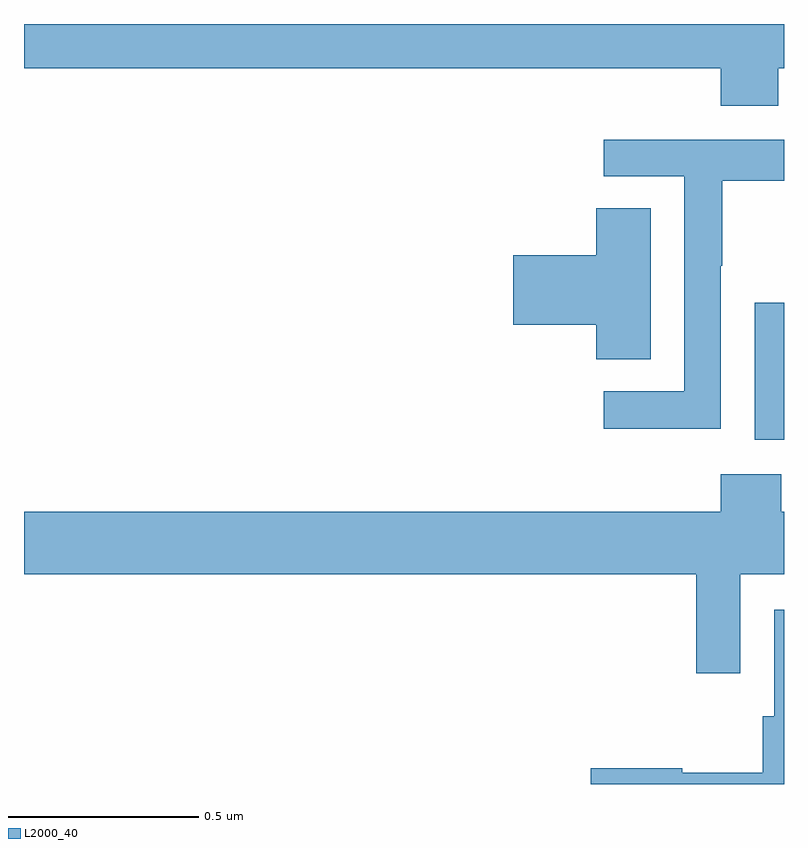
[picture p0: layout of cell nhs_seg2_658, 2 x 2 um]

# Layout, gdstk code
import gdstk
lib = gdstk.Library(unit=1e-6, precision=1e-09)
def R(c, l, rs):  # rectangles x0, y0, x1, y1
    for r in rs: c.add(gdstk.rectangle(r[:2], r[2:], *l))
def P(c, l, *ps):  # polygons
    for p in ps: c.add(gdstk.Polygon(p, *l))
L2000_40 = (2000, 40)

nhs_seg2_658 = lib.new_cell('nhs_seg2_658')
R(nhs_seg2_658, L2000_40, [(120.923,598.706,121,599.067)])
P(nhs_seg2_658, L2000_40, [(120.985,599.684),(121,599.684),(121,599.8),(119,599.8),(119,599.684),(120.833,599.684),(120.833,599.585),(120.985,599.585)],
  [(120.834,599.164),(120.837,599.164),(120.837,599.388),(121,599.388),(121,599.496),(120.525,599.496),(120.525,599.4),(120.738,599.4),(120.738,598.833),(120.525,598.833),(120.525,598.735),(120.834,598.735)],
  [(120.649,599.315),(120.506,599.315),(120.506,599.192),(120.288,599.192),(120.288,599.009),(120.506,599.009),(120.506,598.918),(120.649,598.918)],
  [(120.885,598.352),(121,598.352),(121,598.516),(120.993,598.516),(120.993,598.615),(120.833,598.615),(120.833,598.516),(119,598.516),(119,598.352),(120.769,598.352),(120.769,598.092),(120.885,598.092)],
  [(121,598.258),(120.974,598.258),(120.974,597.978),(120.944,597.978),(120.944,597.829),(120.732,597.829),(120.732,597.842),(120.492,597.842),(120.492,597.8),(121,597.8)])

lib.write_gds('nhs_seg2_658.gds')
